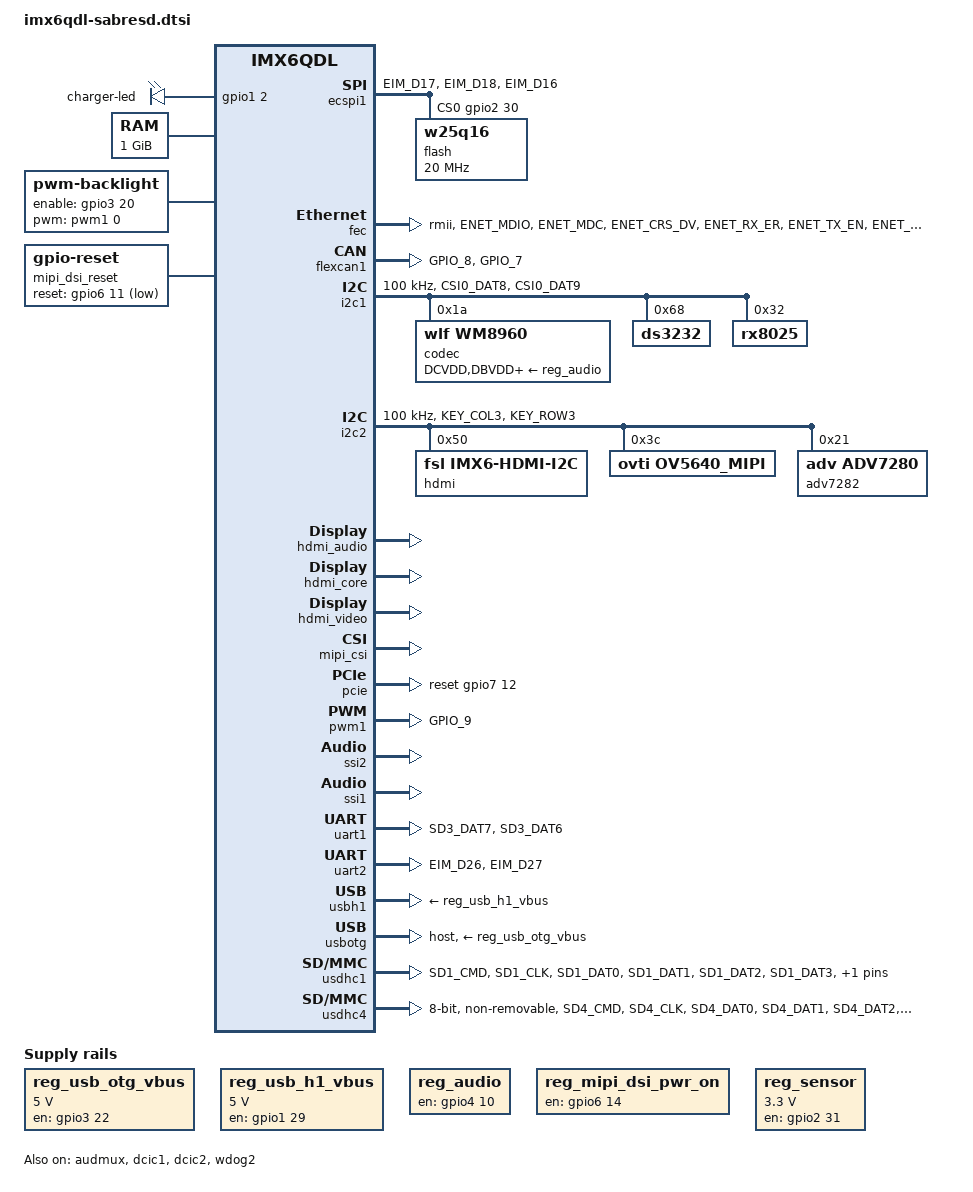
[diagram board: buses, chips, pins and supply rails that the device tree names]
/*
 * Copyright 2012 Freescale Semiconductor, Inc.
 * Copyright 2011 Linaro Ltd.
 *
 * The code contained herein is licensed under the GNU General Public
 * License. You may obtain a copy of the GNU General Public License
 * Version 2 or later at the following locations:
 *
 * http://www.opensource.org/licenses/gpl-license.html
 * http://www.gnu.org/copyleft/gpl.html
 */

#include <dt-bindings/input/input.h>

/ {
	aliases {
		mxcfb0 = &mxcfb1;
		mxcfb1 = &mxcfb2;
		mxcfb2 = &mxcfb3;
		mxcfb3 = &mxcfb4;
	};

	battery: max8903@0 {
		compatible = "fsl,max8903-charger";
		pinctrl-names = "default";
		dok_input = <&gpio2 24 1>;
		uok_input = <&gpio1 27 1>;
		chg_input = <&gpio3 23 1>;
		flt_input = <&gpio5 2 1>;
		fsl,dcm_always_high;
		fsl,dc_valid;
		fsl,usb_valid;
		status = "disabled";
	};

	leds {
		compatible = "gpio-leds";

		charger-led {
			gpios = <&gpio1 2 0>;
			linux,default-trigger = "max8903-charger-charging";
			retain-state-suspended;
		};
	};

	memory {
		reg = <0x10000000 0x40000000>;
	};

	regulators {
		compatible = "simple-bus";
		#address-cells = <1>;
		#size-cells = <0>;

		reg_usb_otg_vbus: regulator@0 {
			compatible = "regulator-fixed";
			reg = <0>;
			regulator-name = "usb_otg_vbus";
			regulator-min-microvolt = <5000000>;
			regulator-max-microvolt = <5000000>;
			gpio = <&gpio3 22 0>;
			enable-active-high;
		};

		reg_usb_h1_vbus: regulator@1 {
			compatible = "regulator-fixed";
			reg = <1>;
			regulator-name = "usb_h1_vbus";
			regulator-min-microvolt = <5000000>;
			regulator-max-microvolt = <5000000>;
			gpio = <&gpio1 29 0>;
			enable-active-high;
		};

		reg_audio: regulator@2 {
			compatible = "regulator-fixed";
			reg = <2>;
			regulator-name = "wm8960-supply";
			gpio = <&gpio4 10 0>;
			enable-active-high;
		};

		reg_mipi_dsi_pwr_on: mipi_dsi_pwr_on {
			compatible = "regulator-fixed";
			regulator-name = "mipi_dsi_pwr_on";
			gpio = <&gpio6 14 0>;
			enable-active-high;
		};

		reg_sensor: regulator@3 {
			compatible = "regulator-fixed";
			reg = <3>;
			regulator-name = "sensor-supply";
			regulator-min-microvolt = <3300000>;
			regulator-max-microvolt = <3300000>;
			gpio = <&gpio2 31 0>;
			startup-delay-us = <500>;
			enable-active-high;
		};
	};
#if 0
	gpio-keys {
		compatible = "gpio-keys";
		pinctrl-names = "default";
		pinctrl-0 = <&pinctrl_gpio_keys>;

		power {
			label = "Power Button";
			gpios = <&gpio3 29 1>;
			gpio-key,wakeup;
			linux,code = <KEY_POWER>;
		};

		volume-up {
			label = "Volume Up";
			gpios = <&gpio1 4 1>;
			gpio-key,wakeup;
			linux,code = <KEY_VOLUMEUP>;
		};

		volume-down {
			label = "Volume Down";
			gpios = <&gpio1 5 1>;
			gpio-key,wakeup;
			linux,code = <KEY_VOLUMEDOWN>;
		};
	};
#endif
	sound {
		compatible = "fsl,imx6q-sabresd-wm8960",
			   "fsl,imx-audio-wm8960";
		model = "wm8960-audio";
		cpu-dai = <&ssi2>;
		audio-codec = <&codec>;
		audio-routing =
			"Headphone Jack", "HP_L",
			"Headphone Jack", "HP_R",
			"Ext Spk", "SPK_LP",
			"Ext Spk", "SPK_RP",
			"LINPUT1", "MICB",
			"MICB", "AMIC";
		mux-int-port = <2>;
		mux-ext-port = <3>;
//		hp-det-gpios = <&gpio7 8 1>;
//		mic-det-gpios = <&gpio1 9 1>;
	};

	sound-hdmi {
		compatible = "fsl,imx6q-audio-hdmi",
			     "fsl,imx-audio-hdmi";
		model = "imx-audio-hdmi";
		hdmi-controller = <&hdmi_audio>;
	};

	sound-phone {
		compatible = "fsl, imx6q-audio-phone",
				   "fsl,imx-audio-phone";
		model = "phone-audio";
		audio-routing =
			"Phone Spk", "SPK_PHONE",
			"INPUT_PHONE", "Phone Mic";
		cpu-dai = <&ssi1>;
	    audio-codec = <&codec_phone>;
		mux-int-port = <1>;
		mux-ext-port = <4>;
	};

	codec_phone: 3gmodem {
		compatible = "huawei, 3g_modem";
		status = "okay";
	};

	mxcfb1: fb@0 {
		compatible = "fsl,mxc_sdc_fb";
		disp_dev = "ldb";
		interface_pix_fmt = "RGB666";
		default_bpp = <32>;
		int_clk = <0>;
		late_init = <0>;
		status = "okay";
	};

	mxcfb2: fb@1 {
		compatible = "fsl,mxc_sdc_fb";
		disp_dev = "ldb";
		interface_pix_fmt = "RGB666";
		default_bpp = <32>;
		int_clk = <0>;
		late_init = <0>;
		status = "disabled";
	};

	mxcfb3: fb@2 {
		compatible = "fsl,mxc_sdc_fb";
		disp_dev = "hdmi";
		interface_pix_fmt = "RGB666";
		mode_str ="1920x1080M@60";
		default_bpp = <32>;
		int_clk = <0>;
		late_init = <0>;
		status = "okay";
	};

	mxcfb4: fb@3 {
		compatible = "fsl,mxc_sdc_fb";
		disp_dev = "lcd";
		interface_pix_fmt = "RGB666";
		default_bpp = <16>;
		mode_str ="CLAA-WVGA";
		int_clk = <0>;
		late_init = <0>;
		status = "disabled";
	};

	lcd@0 {
		compatible = "fsl,lcd";
		ipu_id = <0>;
		disp_id = <0>;
		default_ifmt = "RGB565";
		pinctrl-names = "default";
		pinctrl-0 = <&pinctrl_ipu1>;
		status = "disabled";
	};

	backlight {
		compatible = "pwm-backlight";
		pwms = <&pwm1 0 5000000>;
//		brightness-levels = <0 4 8 16 32 64 128 255>;
		brightness-levels = <0 25 50 75 100 125 150 175 200 225 255>;
		default-brightness-level = <10>;
		enable-gpios = <&gpio3 20 0>;
		status = "okay";
	};

	v4l2_cap_0 {
		compatible = "fsl,imx6q-v4l2-capture";
		ipu_id = <0>;
		csi_id = <0>;
		mclk_source = <0>;
		status = "okay";
	};

	v4l2_cap_1 {
		compatible = "fsl,imx6q-v4l2-capture";
		ipu_id = <0>;
		csi_id = <1>;
		mclk_source = <0>;
		status = "disabled";
	};

	v4l2_out {
		compatible = "fsl,mxc_v4l2_output";
		status = "okay";
	};

	mipi_dsi_reset: mipi-dsi-reset {
		compatible = "gpio-reset";
		reset-gpios = <&gpio6 11 GPIO_ACTIVE_LOW>;
		reset-delay-us = <50>;
		#reset-cells = <0>;
	};
};

&audmux {
	pinctrl-names = "default";
	pinctrl-0 = <&pinctrl_audmux>;
	status = "okay";
};

#if 0
&cpu0 {
	arm-supply = <&sw1a_reg>;
	soc-supply = <&sw1c_reg>;
};
#endif

&ecspi1 {
	fsl,spi-num-chipselects = <1>;
	cs-gpios = <&gpio2 30 0>;
	pinctrl-names = "default";
	pinctrl-0 = <&pinctrl_ecspi1>;
	status = "okay";

	flash: m25p80@0 {
		#address-cells = <1>;
		#size-cells = <1>;
		compatible = "w25q16";
		spi-max-frequency = <20000000>;
		reg = <0>;
	};
};

&fec {
	pinctrl-names = "default";
	pinctrl-0 = <&pinctrl_enet>;
	phy-mode = "rmii";
	phy-reset-gpios = <&gpio1 2 0>;
//	fsl,magic-packet;
	status = "okay";
};

&flexcan1 {
	pinctrl-names = "default";
	pinctrl-0 = <&pinctrl_flexcan1>;
	status = "okay";
};

&i2c1 {
	clock-frequency = <100000>;
	pinctrl-names = "default";
	pinctrl-0 = <&pinctrl_i2c1>;
	status = "okay";

	codec: wm8960@1a {
		compatible = "wlf,wm8960";
		reg = <0x1a>;
		clocks = <&clks 201>;
		DCVDD-supply = <&reg_audio>;
		DBVDD-supply = <&reg_audio>;
		AVDD-supply = <&reg_audio>;
		SPKVDD1-supply = <&reg_audio>;
		SPKVDD2-supply = <&reg_audio>;
		wlf,shared-lrclk;
    };

	ds3232@68 {
		compatible = "ds3232";
		reg = <0x68>;
		status = "okay";
	};

	rx8025@32 {
		compatible = "rx8025";
		reg = <0x32>;
		status = "okay";
	};
};

&i2c2 {
	clock-frequency = <100000>;
	pinctrl-names = "default";
	pinctrl-0 = <&pinctrl_i2c2>;
	status = "okay";

	hdmi: edid@50 {
		compatible = "fsl,imx6-hdmi-i2c";
		reg = <0x50>;
		status = "okay";
	};

	ov5640_mipi:ov5640_mipi@3c {
		compatible = "ovti,ov5640_mipi";
		reg = <0x3c>;
		clocks = <&clks 201>;
		clock-names = "csi_mclk";
		csi_id = <0>;
		mclk = <24000000>;
		mclk_source = <0>;
	};

	adv7282:adv7282@21 {
		compatible = "adv,adv7280";
		reg = <0x21>;
		clocks = <&clks 201>;
		clock-names = "csi_mclk";
		csi_id = <0>;
		mclk = <27000000>;
		mclk_source = <0>;
		cvbs = <1>;
	};

};

//&i2c3 {
//	clock-frequency = <100000>;
//	pinctrl-names = "default";
//	pinctrl-0 = <&pinctrl_i2c3>;
//	status = "okay";
//	
//	goodix_ts@5d {
//		compatible = "goodix,gt9xx";
//		reg = <0x5d>;
//		interrupt-parent = <&gpio4>;
//		interrupts = <9 2>;
//		goodix,rst-gpio = <&gpio4 8 0>;
//		goodix,irq-gpio = <&gpio4 9 0>;
//	};
//	/*egalax_ts@2a {
//                compatible = "eeti,egalax_ts";
//                reg = <0x2a>;
//                interrupt-parent = <&gpio4>;
//                interrupts = <9 2>;
//                wakeup-gpios = <&gpio4 8 0>;
//                egalax_irq = <&gpio4 9 0>;
//        };*/
//};

&iomuxc {
	pinctrl-names = "default";
	pinctrl-0 = <&pinctrl_hog>;

	imx6qdl-sabresd {
		pinctrl_hog: hoggrp {
			fsl,pins = <
				MX6QDL_PAD_NANDF_D0__GPIO2_IO00 0x80000000
				MX6QDL_PAD_NANDF_D1__GPIO2_IO01 0x80000000
				MX6QDL_PAD_NANDF_D2__GPIO2_IO02 0x80000000
				MX6QDL_PAD_NANDF_D3__GPIO2_IO03 0x80000000
				MX6QDL_PAD_GPIO_0__CCM_CLKO1    0x130b0
				MX6QDL_PAD_NANDF_CLE__GPIO6_IO07 0x80000000
				MX6QDL_PAD_NANDF_ALE__GPIO6_IO08 0x80000000
//				MX6QDL_PAD_ENET_TXD1__GPIO1_IO29 0x80000000
				MX6QDL_PAD_EIM_D22__GPIO3_IO22  0x80000000
//				MX6QDL_PAD_ENET_CRS_DV__GPIO1_IO25 0x80000000
//				MX6QDL_PAD_EIM_D26__GPIO3_IO26 0x80000000
				MX6QDL_PAD_EIM_CS1__GPIO2_IO24 0x80000000
//				MX6QDL_PAD_ENET_RXD0__GPIO1_IO27 0x80000000
				MX6QDL_PAD_EIM_A25__GPIO5_IO02 0x80000000
				MX6QDL_PAD_EIM_D23__GPIO3_IO23 0x80000000
				MX6QDL_PAD_EIM_EB3__GPIO2_IO31 0x80000000
//				MX6QDL_PAD_SD1_CMD__GPIO1_IO18 0x80000000
//				MX6QDL_PAD_EIM_D16__GPIO3_IO16 0x80000000
				MX6QDL_PAD_SD3_RST__GPIO7_IO08	0x80000000
//				MX6QDL_PAD_GPIO_9__GPIO1_IO09 	0x80000000
				MX6QDL_PAD_EIM_DA9__GPIO3_IO09 0x80000000
				//MX6QDL_PAD_GPIO_1__WDOG2_B 0x80000000
				MX6QDL_PAD_NANDF_CS0__GPIO6_IO11 0x80000000
				MX6QDL_PAD_NANDF_CS1__GPIO6_IO14 0x80000000
				MX6QDL_PAD_GPIO_2__GPIO1_IO02  0x80000000
				MX6QDL_PAD_EIM_D19__GPIO3_IO19 0x80000000
				MX6QDL_PAD_EIM_EB2__GPIO2_IO30 0x80000000
				MX6QDL_PAD_GPIO_17__GPIO7_IO12  0x80000000
				MX6QDL_PAD_KEY_COL4__GPIO4_IO14  0x80000000
				MX6QDL_PAD_KEY_COL1__GPIO4_IO08  0x80000000
				MX6QDL_PAD_KEY_ROW1__GPIO4_IO09  0x80000000
				MX6QDL_PAD_EIM_D20__GPIO3_IO20 0x80000000
		                MX6QDL_PAD_GPIO_1__GPIO1_IO01  0x80000000
				MX6QDL_PAD_CSI0_DAT10__GPIO5_IO28 0X130b0
				//MX6QDL_PAD_EIM_D25__GPIO3_IO25 0X80000000
				//MX6QDL_PAD_EIM_D24__GPIO3_IO24 0X80000000
				//MX6QDL_PAD_KEY_COL0__GPIO4_IO06 0X80000000
				//MX6QDL_PAD_KEY_ROW0__GPIO4_IO07 0X80000000
				MX6QDL_PAD_KEY_COL1__GPIO4_IO08 0X80000000
				MX6QDL_PAD_KEY_ROW1__GPIO4_IO09 0X80000000
				MX6QDL_PAD_GPIO_6__GPIO1_IO06 0X80000000
				MX6QDL_PAD_GPIO_3__GPIO1_IO03 0X80000000
				MX6QDL_PAD_EIM_D28__GPIO3_IO28 0x130b0
 				MX6QDL_PAD_EIM_DA11__GPIO3_IO11 0X80000000
//				MX6QDL_PAD_EIM_D20__GPIO3_IO20 0X80000000
			>;
		};

		pinctrl_audmux: audmuxgrp {
			fsl,pins = <
				MX6QDL_PAD_CSI0_DAT7__AUD3_RXD		0x130b0
				MX6QDL_PAD_CSI0_DAT4__AUD3_TXC		0x130b0
				MX6QDL_PAD_CSI0_DAT5__AUD3_TXD		0x110b0
				MX6QDL_PAD_CSI0_DAT6__AUD3_TXFS		0x130b0
				MX6QDL_PAD_SD2_DAT0__AUD4_RXD  0x130b0
				MX6QDL_PAD_SD2_DAT3__AUD4_TXC  0x130b0
				MX6QDL_PAD_SD2_DAT2__AUD4_TXD  0x110b0
				MX6QDL_PAD_SD2_DAT1__AUD4_TXFS 0x130b0
			>;
		};

		pinctrl_ecspi1: ecspi1grp {
			fsl,pins = <
				MX6QDL_PAD_EIM_D17__ECSPI1_MISO	0x100b1
				MX6QDL_PAD_EIM_D18__ECSPI1_MOSI	0x100b1
				MX6QDL_PAD_EIM_D16__ECSPI1_SCLK	0x100b1
			>;
		};

		pinctrl_enet: enetgrp {
			fsl,pins = <
				MX6QDL_PAD_ENET_MDIO__ENET_MDIO		0x1b0b0
				MX6QDL_PAD_ENET_MDC__ENET_MDC		0x1b0b0
				MX6QDL_PAD_ENET_CRS_DV__ENET_RX_EN	0x1b0b0
				MX6QDL_PAD_ENET_RX_ER__ENET_RX_ER	0x1b0b0
				MX6QDL_PAD_ENET_TX_EN__ENET_TX_EN	0x1b0b0
				MX6QDL_PAD_ENET_RXD0__ENET_RX_DATA0		0x1b0b0
				MX6QDL_PAD_ENET_RXD1__ENET_RX_DATA1		0x1b0b0
				MX6QDL_PAD_ENET_TXD0__ENET_TX_DATA0		0x1b0b0
				MX6QDL_PAD_ENET_TXD1__ENET_TX_DATA1		0x1b0b0
				MX6QDL_PAD_GPIO_16__ENET_REF_CLK	0x4001b0a8
			>;
		};

		pinctrl_enet_irq: enetirqgrp {
			fsl,pins = <
				MX6QDL_PAD_GPIO_6__ENET_IRQ		0x000b1
			>;
		};

		pinctrl_flexcan1: flexcan1grp {
			fsl,pins = <
				MX6QDL_PAD_GPIO_8__FLEXCAN1_RX	0x80000000
				MX6QDL_PAD_GPIO_7__FLEXCAN1_TX	0x80000000
			>;
		};

		pinctrl_gpio_keys: gpio_keysgrp {
			fsl,pins = <
				MX6QDL_PAD_EIM_D29__GPIO3_IO29 0x80000000
				MX6QDL_PAD_GPIO_4__GPIO1_IO04  0x80000000
				MX6QDL_PAD_GPIO_5__GPIO1_IO05  0x80000000
			>;
		};

		pinctrl_hdmi_cec: hdmicecgrp {
			fsl,pins = <
				MX6QDL_PAD_KEY_ROW2__HDMI_TX_CEC_LINE 0x1f8b0
			>;
		};

		pinctrl_hdmi_hdcp: hdmihdcpgrp {
			fsl,pins = <
				MX6QDL_PAD_KEY_COL3__HDMI_TX_DDC_SCL 0x4001b8b1
				MX6QDL_PAD_KEY_ROW3__HDMI_TX_DDC_SDA 0x4001b8b1
			>;
		};

		pinctrl_i2c1: i2c1grp {
			fsl,pins = <
				MX6QDL_PAD_CSI0_DAT8__I2C1_SDA		0x4001b8b1
				MX6QDL_PAD_CSI0_DAT9__I2C1_SCL		0x4001b8b1
			>;
		};

		pinctrl_i2c2: i2c2grp {
			fsl,pins = <
				MX6QDL_PAD_KEY_COL3__I2C2_SCL		0x4001b8b1
				MX6QDL_PAD_KEY_ROW3__I2C2_SDA		0x4001b8b1
			 >;
		};
		
		//pinctrl_i2c3: i2c3grp {
		//	fsl,pins = <
		//		//MX6QDL_PAD_GPIO_3__I2C3_SCL		0x4001b8b1
		//		//MX6QDL_PAD_GPIO_6__I2C3_SDA		0x4001b8b1
		//	>;
		//};

		pinctrl_ipu1: ipu1grp {
			fsl,pins = <
				MX6QDL_PAD_DI0_DISP_CLK__IPU1_DI0_DISP_CLK 0x10
				MX6QDL_PAD_DI0_PIN15__IPU1_DI0_PIN15       0x10
				MX6QDL_PAD_DI0_PIN2__IPU1_DI0_PIN02        0x10
				MX6QDL_PAD_DI0_PIN3__IPU1_DI0_PIN03        0x10
				MX6QDL_PAD_DI0_PIN4__IPU1_DI0_PIN04        0x80000000
				MX6QDL_PAD_DISP0_DAT0__IPU1_DISP0_DATA00   0x10
				MX6QDL_PAD_DISP0_DAT1__IPU1_DISP0_DATA01   0x10
				MX6QDL_PAD_DISP0_DAT2__IPU1_DISP0_DATA02   0x10
				MX6QDL_PAD_DISP0_DAT3__IPU1_DISP0_DATA03   0x10
				MX6QDL_PAD_DISP0_DAT4__IPU1_DISP0_DATA04   0x10
				MX6QDL_PAD_DISP0_DAT5__IPU1_DISP0_DATA05   0x10
				MX6QDL_PAD_DISP0_DAT6__IPU1_DISP0_DATA06   0x10
				MX6QDL_PAD_DISP0_DAT7__IPU1_DISP0_DATA07   0x10
				MX6QDL_PAD_DISP0_DAT8__IPU1_DISP0_DATA08   0x10
				MX6QDL_PAD_DISP0_DAT9__IPU1_DISP0_DATA09   0x10
				MX6QDL_PAD_DISP0_DAT10__IPU1_DISP0_DATA10  0x10
				MX6QDL_PAD_DISP0_DAT11__IPU1_DISP0_DATA11  0x10
				MX6QDL_PAD_DISP0_DAT12__IPU1_DISP0_DATA12  0x10
				MX6QDL_PAD_DISP0_DAT13__IPU1_DISP0_DATA13  0x10
				MX6QDL_PAD_DISP0_DAT14__IPU1_DISP0_DATA14  0x10
				MX6QDL_PAD_DISP0_DAT15__IPU1_DISP0_DATA15  0x10
				MX6QDL_PAD_DISP0_DAT16__IPU1_DISP0_DATA16  0x10
				MX6QDL_PAD_DISP0_DAT17__IPU1_DISP0_DATA17  0x10
				MX6QDL_PAD_DISP0_DAT18__IPU1_DISP0_DATA18  0x10
				MX6QDL_PAD_DISP0_DAT19__IPU1_DISP0_DATA19  0x10
				MX6QDL_PAD_DISP0_DAT20__IPU1_DISP0_DATA20  0x10
				MX6QDL_PAD_DISP0_DAT21__IPU1_DISP0_DATA21  0x10
				MX6QDL_PAD_DISP0_DAT22__IPU1_DISP0_DATA22  0x10
				MX6QDL_PAD_DISP0_DAT23__IPU1_DISP0_DATA23  0x10
			>;
		};

		pinctrl_ipu1_2: ipu1grp-2 { /* parallel camera */
			fsl,pins = <
				MX6QDL_PAD_CSI0_DAT12__IPU1_CSI0_DATA12    0x80000000
				MX6QDL_PAD_CSI0_DAT13__IPU1_CSI0_DATA13    0x80000000
				MX6QDL_PAD_CSI0_DAT14__IPU1_CSI0_DATA14    0x80000000
				MX6QDL_PAD_CSI0_DAT15__IPU1_CSI0_DATA15    0x80000000
				MX6QDL_PAD_CSI0_DAT16__IPU1_CSI0_DATA16    0x80000000
				MX6QDL_PAD_CSI0_DAT17__IPU1_CSI0_DATA17    0x80000000
				MX6QDL_PAD_CSI0_DAT18__IPU1_CSI0_DATA18    0x80000000
				MX6QDL_PAD_CSI0_DAT19__IPU1_CSI0_DATA19    0x80000000
				MX6QDL_PAD_CSI0_DATA_EN__IPU1_CSI0_DATA_EN 0x80000000
				MX6QDL_PAD_CSI0_PIXCLK__IPU1_CSI0_PIXCLK   0x80000000
				MX6QDL_PAD_CSI0_MCLK__IPU1_CSI0_HSYNC      0x80000000
				MX6QDL_PAD_CSI0_VSYNC__IPU1_CSI0_VSYNC     0x80000000
			>;
		};

		pinctrl_pwm1: pwm1grp {
			fsl,pins = <
				MX6QDL_PAD_GPIO_9__PWM1_OUT		0x1b0b1
			>;
		};

		pinctrl_uart1: uart1grp {
			fsl,pins = <
				MX6QDL_PAD_SD3_DAT7__UART1_TX_DATA	0x1b0b1
				MX6QDL_PAD_SD3_DAT6__UART1_RX_DATA	0x1b0b1
			>;
		};

		pinctrl_uart2: uart2grp {
			fsl,pins = <
				MX6QDL_PAD_EIM_D26__UART2_TX_DATA	0x1b0b1
				MX6QDL_PAD_EIM_D27__UART2_RX_DATA	0x1b0b1
			>;
		};

		pinctrl_uart3: uart3grp {
			fsl,pins = <
				MX6QDL_PAD_EIM_D24__UART3_TX_DATA	0x1b0b1
				MX6QDL_PAD_EIM_D25__UART3_RX_DATA	0x1b0b1
			>;
		};

		pinctrl_uart4: uart4grp {
			fsl,pins = <
				MX6QDL_PAD_KEY_COL0__UART4_TX_DATA	0x1b0b1
				MX6QDL_PAD_KEY_ROW0__UART4_RX_DATA	0x1b0b1
			>;
		};

		pinctrl_uart5_1: uart5grp-1 {
			fsl,pins = <
				//MX6QDL_PAD_KEY_COL1__UART5_TX_DATA	0x1b0b1
				//MX6QDL_PAD_KEY_ROW1__UART5_RX_DATA	0x1b0b1
			>;
		};

		pinctrl_uart5dte_1: uart5dtegrp-1 {
			fsl,pins = <
				MX6QDL_PAD_KEY_ROW1__UART5_TX_DATA	0x1b0b1
				MX6QDL_PAD_KEY_COL1__UART5_RX_DATA	0x1b0b1
				MX6QDL_PAD_KEY_ROW4__UART5_RTS_B	0x1b0b1
				MX6QDL_PAD_KEY_COL4__UART5_CTS_B	0x1b0b1
			>;
		};

		pinctrl_usbotg: usbotggrp {
			fsl,pins = <
				MX6QDL_PAD_ENET_RX_ER__USB_OTG_ID	0x17059
			>;
		};

		pinctrl_usdhc1: usdhc1grp {
			fsl,pins = <
				MX6QDL_PAD_SD1_CMD__SD1_CMD		0x17059
				MX6QDL_PAD_SD1_CLK__SD1_CLK		0x10059
				MX6QDL_PAD_SD1_DAT0__SD1_DATA0		0x17059
				MX6QDL_PAD_SD1_DAT1__SD1_DATA1		0x17059
				MX6QDL_PAD_SD1_DAT2__SD1_DATA2		0x17059
				MX6QDL_PAD_SD1_DAT3__SD1_DATA3		0x17059
			>;
		};

		pinctrl_usdhc2: usdhc2grp {
			fsl,pins = <
				MX6QDL_PAD_SD2_CMD__SD2_CMD		0x17059
				MX6QDL_PAD_SD2_CLK__SD2_CLK		0x10059
				MX6QDL_PAD_SD2_DAT0__SD2_DATA0		0x17059
				MX6QDL_PAD_SD2_DAT1__SD2_DATA1		0x17059
				MX6QDL_PAD_SD2_DAT2__SD2_DATA2		0x17059
				MX6QDL_PAD_SD2_DAT3__SD2_DATA3		0x17059
			>;
		};

		pinctrl_usdhc3: usdhc3grp {
			fsl,pins = <
				MX6QDL_PAD_SD3_CMD__SD3_CMD		0x17059
				MX6QDL_PAD_SD3_CLK__SD3_CLK		0x10059
				MX6QDL_PAD_SD3_DAT0__SD3_DATA0		0x17059
				MX6QDL_PAD_SD3_DAT1__SD3_DATA1		0x17059
				MX6QDL_PAD_SD3_DAT2__SD3_DATA2		0x17059
				MX6QDL_PAD_SD3_DAT3__SD3_DATA3		0x17059
			>;
		};

		pinctrl_usdhc4: usdhc4grp {
			fsl,pins = <
				MX6QDL_PAD_SD4_CMD__SD4_CMD		0x17059
				MX6QDL_PAD_SD4_CLK__SD4_CLK		0x10059
				MX6QDL_PAD_SD4_DAT0__SD4_DATA0		0x17059
				MX6QDL_PAD_SD4_DAT1__SD4_DATA1		0x17059
				MX6QDL_PAD_SD4_DAT2__SD4_DATA2		0x17059
				MX6QDL_PAD_SD4_DAT3__SD4_DATA3		0x17059
				MX6QDL_PAD_SD4_DAT4__SD4_DATA4		0x17059
				MX6QDL_PAD_SD4_DAT5__SD4_DATA5		0x17059
				MX6QDL_PAD_SD4_DAT6__SD4_DATA6		0x17059
				MX6QDL_PAD_SD4_DAT7__SD4_DATA7		0x17059
			>;
		};

	};
};

&dcic1 {
	dcic_id = <0>;
	dcic_mux = "dcic-hdmi";
	status = "okay";
};

&dcic2 {
	dcic_id = <1>;
	dcic_mux = "dcic-lvds1";
	status = "okay";
};

&gpc {
	/* use ldo-bypass, u-boot will check it and configure */
	fsl,ldo-bypass = <1>;
	fsl,wdog-reset = <2>;
};

&hdmi_audio {
	status = "okay";
};

&hdmi_cec {
	pinctrl-names = "default";
	pinctrl-0 = <&pinctrl_hdmi_cec>;
	status = "disabled";
};

&hdmi_core {
	ipu_id = <0>;
	disp_id = <1>;
	status = "okay";
};

&hdmi_video {
	fsl,phy_reg_vlev = <0x0294>;
	fsl,phy_reg_cksymtx = <0x800d>;
	status = "okay";
};

&mipi_csi {
	status = "okay";
	ipu_id = <0>;
	csi_id = <0>;
	v_channel = <0>;
	lanes = <2>;
	status = "okay";
};

&mipi_dsi {
	dev_id = <0>;
	disp_id = <1>;
	lcd_panel = "TRULY-WVGA";
	disp-power-on-supply = <&reg_mipi_dsi_pwr_on>;
	resets = <&mipi_dsi_reset>;
	status = "disabled";
};

&pcie {
	reset-gpio = <&gpio7 12 0>;
	disable-gpio=<&gpio4 14 0>;
	status = "okay";
};

&pwm1 {
	pinctrl-names = "default";
	pinctrl-0 = <&pinctrl_pwm1>;
	status = "okay";
};

&ssi2 {
	fsl,mode = "i2s-slave";
	status = "okay";
};

&ssi1 {
	fsl,mode = "dsp_a-slave";
	status = "okay";
};

&uart1 {
	pinctrl-names = "default";
	pinctrl-0 = <&pinctrl_uart1>;
	status = "okay";
};

&uart2 {
	pinctrl-names = "default";
	pinctrl-0 = <&pinctrl_uart2>;
	status = "okay";
};
/*
&uart3 {
	pinctrl-names = "default";
	pinctrl-0 = <&pinctrl_uart3>;
	status = "okay";
};

&uart4 {
	pinctrl-names = "default";
	pinctrl-0 = <&pinctrl_uart4>;
	status = "okay";
};

&uart5 {
	pinctrl-names = "default";
	pinctrl-0 = <&pinctrl_uart5_1>;
	status = "disabled";
};*/

&usbh1 {
	vbus-supply = <&reg_usb_h1_vbus>;
	status = "okay";
};

&usbotg {
	vbus-supply = <&reg_usb_otg_vbus>;
	pinctrl-names = "default";
//	pinctrl-0 = <&pinctrl_usbotg>;
	disable-over-current;
	status = "okay";
	dr_mode = "host";
};

&usdhc1 {
	pinctrl-names = "default";
	pinctrl-0 = <&pinctrl_usdhc1>;
	cd-gpios = <&gpio1 1 0>;
	no-1-8-v;
	keep-power-in-suspend;
	enable-sdio-wakeup;
	status = "okay";
};

&usdhc2 {
	pinctrl-names = "default";
	pinctrl-0 = <&pinctrl_usdhc2>;
	cd-gpios = <&gpio2 2 0>;
	wp-gpios = <&gpio2 3 0>;
	no-1-8-v;
	keep-power-in-suspend;
	enable-sdio-wakeup;
	status = "disabled";
};

&usdhc3 {
	pinctrl-names = "default";
	pinctrl-0 = <&pinctrl_usdhc3>;
	cd-gpios = <&gpio2 0 0>;
	wp-gpios = <&gpio2 1 0>;
	no-1-8-v;
	keep-power-in-suspend;
	enable-sdio-wakeup;
	status = "disabled";
};

&usdhc4 {
	pinctrl-names = "default";
	pinctrl-0 = <&pinctrl_usdhc4>;
	bus-width = <8>;
	non-removable;
	no-1-8-v;
	keep-power-in-suspend;
	status = "okay";
};

&wdog1 {
	status = "disabled";
};

&wdog2 {
	status = "okay";
};
